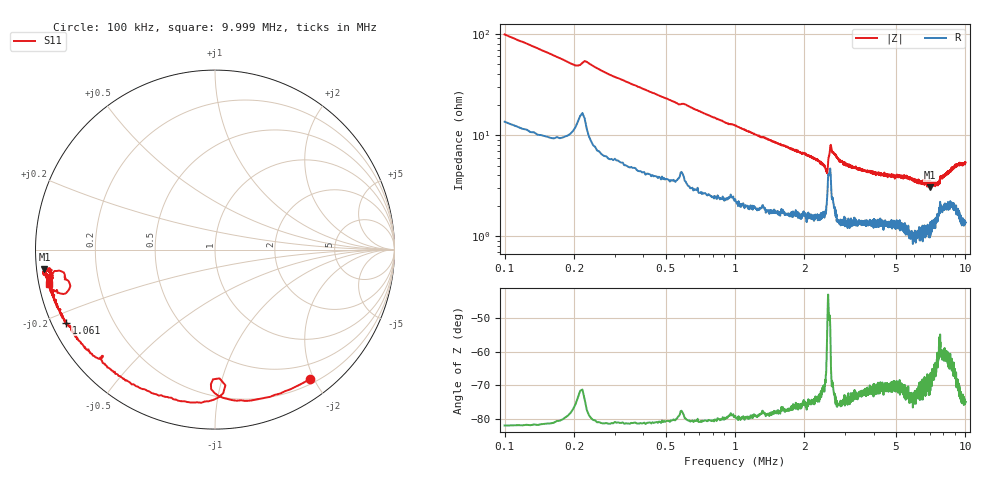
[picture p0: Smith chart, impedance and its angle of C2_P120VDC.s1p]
# HZ S RI R 50
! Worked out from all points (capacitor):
!   2020 points, 100 kHz to 9.999 MHz, reference 50 ohm
!   read as one part to ground: C = 14.6 nF near 149 kHz
!   lowest |Z| = 3.06 ohm at 7.008 MHz (marker M1)
!   S11 on the Smith chart (normalised r, x): 100 kHz: 0.27, -1.95; 1.061 MHz: 0.04, -0.23; 9.999 MHz: 0.03, -0.10
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100000  0.5314 -0.7193
129418  0.362 -0.8023
173545  0.1195 -0.8419
232381  0.0169 -0.8248
266702  -0.1361 -0.8518
301023  -0.2419 -0.8254
369665  -0.3924 -0.7783
443210  -0.5111 -0.7203
526561  -0.6025 -0.6492
707972  -0.7209 -0.5521
913898  -0.7998 -0.4491
1060988  -0.8291 -0.4065
1340459  -0.8665 -0.3344
2428925  -0.9157 -0.1787
2473052  -0.9223 -0.1595
2522082  -0.8814 -0.1193
2576015  -0.8213 -0.1709
2644657  -0.8835 -0.2294
2811359  -0.9234 -0.2078
3223211  -0.9351 -0.1718
3816474  -0.9362 -0.1552
5052030  -0.94 -0.1366
6287586  -0.9482 -0.1229
7008327  -0.9502 -0.1085
7528045  -0.9349 -0.1137
7778098  -0.9159 -0.1208
8763601  -0.9089 -0.154
9999157  -0.9266 -0.1944
